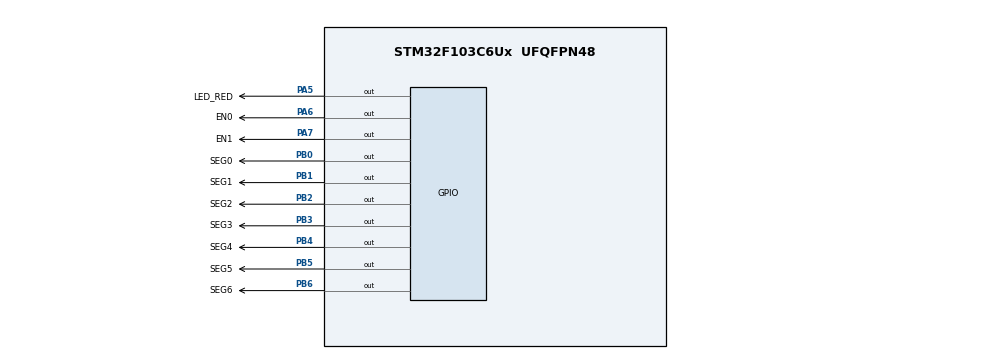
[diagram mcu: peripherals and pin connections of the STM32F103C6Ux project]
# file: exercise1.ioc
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Mcu.Family=STM32F1
Mcu.Name=STM32F103C6Ux
Mcu.Package=UFQFPN48
NVIC.PriorityGroup=NVIC_PRIORITYGROUP_4
NVIC.TIM2_IRQn=true\:0\:0\:false\:false\:true\:true\:true
PA5.GPIO_Label=LED_RED
PA5.Signal=GPIO_Output
PA6.GPIO_Label=EN0
PA6.Signal=GPIO_Output
PA7.GPIO_Label=EN1
PA7.Signal=GPIO_Output
PB0.GPIO_Label=SEG0
PB0.Signal=GPIO_Output
PB1.GPIO_Label=SEG1
PB1.Signal=GPIO_Output
PB2.GPIO_Label=SEG2
PB2.Signal=GPIO_Output
PB3.GPIO_Label=SEG3
PB3.Signal=GPIO_Output
PB4.GPIO_Label=SEG4
PB4.Signal=GPIO_Output
PB5.GPIO_Label=SEG5
PB5.Signal=GPIO_Output
PB6.GPIO_Label=SEG6
PB6.Signal=GPIO_Output
ProjectManager.HeapSize=0x200
ProjectManager.StackSize=0x400
ProjectManager.TargetToolchain=STM32CubeIDE
RCC.APB1Freq_Value=8000000
RCC.APB2Freq_Value=8000000
TIM2.Period=9
TIM2.Prescaler=7999
VP_SYS_VS_ND.Mode=No_Debug
VP_TIM2_VS_ClockSourceINT.Mode=Internal
board=custom

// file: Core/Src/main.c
/* USER CODE BEGIN Header */
/**
  ******************************************************************************
  * @file           : main.c
  * @brief          : Main program body
  ******************************************************************************
  * @attention
  *
  * <h2><center>&copy; Copyright (c) 2022 STMicroelectronics.
  * All rights reserved.</center></h2>
  *
  * This software component is licensed by ST under BSD 3-Clause license,
  * the "License"; You may not use this file except in compliance with the
  * License. You may obtain a copy of the License at:
  *                        opensource.org/licenses/BSD-3-Clause
  *
  ******************************************************************************
  */
/* USER CODE END Header */
#include "main.h"

/* USER CODE BEGIN Includes */
#include "display7SEG.h"
/* USER CODE END Includes */

TIM_HandleTypeDef htim2;

void SystemClock_Config(void);
static void MX_TIM2_Init(void);
static void MX_GPIO_Init(void);

int main(void)
{

  /* MCU Configuration--------------------------------------------------------*/

  /* Reset of all peripherals, Initializes the Flash interface and the Systick. */
  HAL_Init();

  /* Configure the system clock */
  SystemClock_Config();

  /* Initialize all configured peripherals */
  MX_TIM2_Init();
  MX_GPIO_Init();
  /* USER CODE BEGIN 2 */
  HAL_TIM_Base_Start_IT(&htim2);
  /* USER CODE END 2 */

  /* Infinite loop */
  while (1)
  {

  }
}

void SystemClock_Config(void)
{
  RCC_OscInitTypeDef RCC_OscInitStruct = {0};
  RCC_ClkInitTypeDef RCC_ClkInitStruct = {0};

  /** Initializes the RCC Oscillators according to the specified parameters
  * in the RCC_OscInitTypeDef structure.
  */
  RCC_OscInitStruct.OscillatorType = RCC_OSCILLATORTYPE_HSI;
  RCC_OscInitStruct.HSIState = RCC_HSI_ON;
  RCC_OscInitStruct.HSICalibrationValue = RCC_HSICALIBRATION_DEFAULT;
  RCC_OscInitStruct.PLL.PLLState = RCC_PLL_NONE;
  if (HAL_RCC_OscConfig(&RCC_OscInitStruct) != HAL_OK)
  {
    Error_Handler();
  }
  /** Initializes the CPU, AHB and APB buses clocks
  */
  RCC_ClkInitStruct.ClockType = RCC_CLOCKTYPE_HCLK|RCC_CLOCKTYPE_SYSCLK
                              |RCC_CLOCKTYPE_PCLK1|RCC_CLOCKTYPE_PCLK2;
  RCC_ClkInitStruct.SYSCLKSource = RCC_SYSCLKSOURCE_HSI;
  RCC_ClkInitStruct.AHBCLKDivider = RCC_SYSCLK_DIV1;
  RCC_ClkInitStruct.APB1CLKDivider = RCC_HCLK_DIV1;
  RCC_ClkInitStruct.APB2CLKDivider = RCC_HCLK_DIV1;

  if (HAL_RCC_ClockConfig(&RCC_ClkInitStruct, FLASH_LATENCY_0) != HAL_OK)
  {
    Error_Handler();
  }
}

static void MX_TIM2_Init(void)
{

  TIM_ClockConfigTypeDef sClockSourceConfig = {0};
  TIM_MasterConfigTypeDef sMasterConfig = {0};

  htim2.Instance = TIM2;
  htim2.Init.Prescaler = 7999;
  htim2.Init.CounterMode = TIM_COUNTERMODE_UP;
  htim2.Init.Period = 9;
  htim2.Init.ClockDivision = TIM_CLOCKDIVISION_DIV1;
  htim2.Init.AutoReloadPreload = TIM_AUTORELOAD_PRELOAD_DISABLE;
  if (HAL_TIM_Base_Init(&htim2) != HAL_OK)
  {
    Error_Handler();
  }
  sClockSourceConfig.ClockSource = TIM_CLOCKSOURCE_INTERNAL;
  if (HAL_TIM_ConfigClockSource(&htim2, &sClockSourceConfig) != HAL_OK)
  {
    Error_Handler();
  }
  sMasterConfig.MasterOutputTrigger = TIM_TRGO_RESET;
  sMasterConfig.MasterSlaveMode = TIM_MASTERSLAVEMODE_DISABLE;
  if (HAL_TIMEx_MasterConfigSynchronization(&htim2, &sMasterConfig) != HAL_OK)
  {
    Error_Handler();
  }

}

static void MX_GPIO_Init(void)
{
  GPIO_InitTypeDef GPIO_InitStruct = {0};

  /* GPIO Ports Clock Enable */
  __HAL_RCC_GPIOA_CLK_ENABLE();
  __HAL_RCC_GPIOB_CLK_ENABLE();

  /*Configure GPIO pin Output Level */
  HAL_GPIO_WritePin(GPIOA, LED_RED_Pin|EN0_Pin|EN1_Pin, GPIO_PIN_RESET);

  /*Configure GPIO pin Output Level */
  HAL_GPIO_WritePin(GPIOB, SEG0_Pin|SEG1_Pin|SEG2_Pin|SEG3_Pin
                          |SEG4_Pin|SEG5_Pin|SEG6_Pin, GPIO_PIN_RESET);

  /*Configure GPIO pins : LED_RED_Pin EN0_Pin EN1_Pin */
  GPIO_InitStruct.Pin = LED_RED_Pin|EN0_Pin|EN1_Pin;
  GPIO_InitStruct.Mode = GPIO_MODE_OUTPUT_PP;
  GPIO_InitStruct.Pull = GPIO_NOPULL;
  GPIO_InitStruct.Speed = GPIO_SPEED_FREQ_LOW;
  HAL_GPIO_Init(GPIOA, &GPIO_InitStruct);

  /*Configure GPIO pins : SEG0_Pin SEG1_Pin SEG2_Pin SEG3_Pin
                           SEG4_Pin SEG5_Pin SEG6_Pin */
  GPIO_InitStruct.Pin = SEG0_Pin|SEG1_Pin|SEG2_Pin|SEG3_Pin
                          |SEG4_Pin|SEG5_Pin|SEG6_Pin;
  GPIO_InitStruct.Mode = GPIO_MODE_OUTPUT_PP;
  GPIO_InitStruct.Pull = GPIO_NOPULL;
  GPIO_InitStruct.Speed = GPIO_SPEED_FREQ_LOW;
  HAL_GPIO_Init(GPIOB, &GPIO_InitStruct);

}

/* USER CODE BEGIN 4 */
int counter = 50;
int status = 0 ;
void HAL_TIM_PeriodElapsedCallback ( TIM_HandleTypeDef * htim )
{
	counter--;
	if(counter <= 0 ){
		counter = 50 ;
		HAL_GPIO_TogglePin(LED_RED_GPIO_Port, LED_RED_Pin);
		status =  1 - status ;
	}
	if(status == 1){
		display7SEG(2);
		HAL_GPIO_WritePin(EN0_GPIO_Port, EN0_Pin, SET) ;
		HAL_GPIO_WritePin(EN1_GPIO_Port, EN1_Pin, RESET) ;

	}else{
		display7SEG(1);
		HAL_GPIO_WritePin(EN0_GPIO_Port, EN0_Pin, RESET) ;
		HAL_GPIO_WritePin(EN1_GPIO_Port, EN1_Pin, SET) ;

	}
}
/* USER CODE END 4 */

void Error_Handler(void)
{
  __disable_irq();
  while (1)
  {
  }
}

/************************ (C) COPYRIGHT STMicroelectronics *****END OF FILE****/
